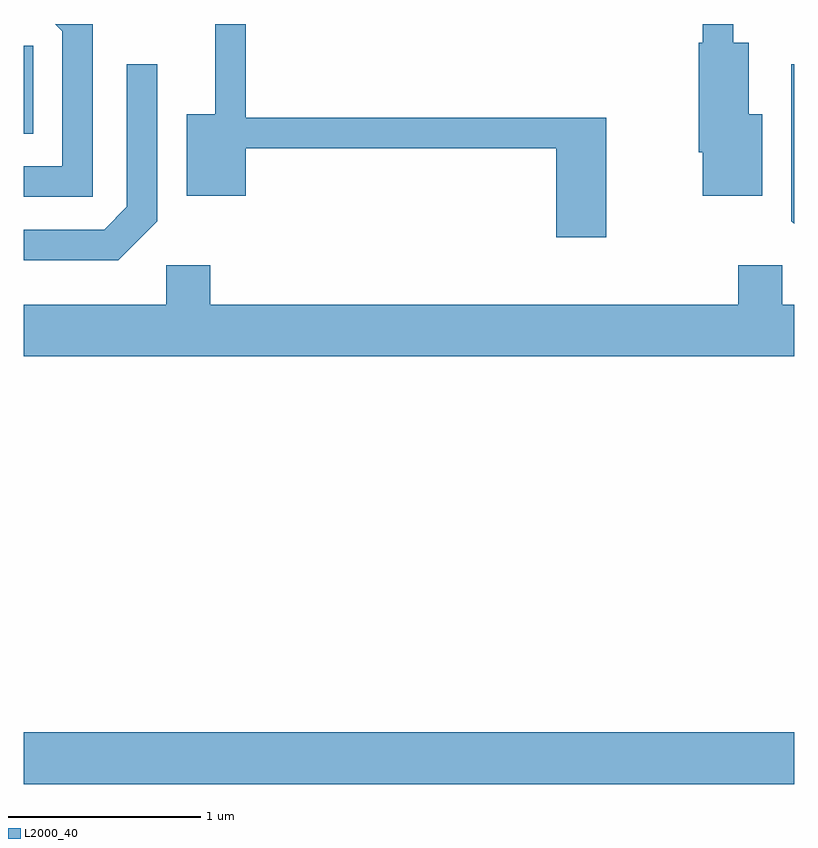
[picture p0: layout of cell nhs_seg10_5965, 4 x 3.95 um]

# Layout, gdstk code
import gdstk
lib = gdstk.Library(unit=1e-6, precision=1e-09)
def R(c, l, rs):  # rectangles x0, y0, x1, y1
    for r in rs: c.add(gdstk.rectangle(r[:2], r[2:], *l))
def P(c, l, *ps):  # polygons
    for p in ps: c.add(gdstk.Polygon(p, *l))
L2000_40 = (2000, 40)

nhs_seg10_5965 = lib.new_cell('nhs_seg10_5965')
R(nhs_seg10_5965, L2000_40, [(361.611,2120.576,365.611,2120.844), (361.611,2123.951,361.659,2124.409)])
P(nhs_seg10_5965, L2000_40, [(364.634,2124.034),(362.764,2124.034),(362.764,2124.522),(362.606,2124.522),(362.606,2124.054),(362.456,2124.054),(362.456,2123.631),(362.764,2123.631),(362.764,2123.876),(364.376,2123.876),(364.376,2123.416),(364.634,2123.416)],
  [(365.444,2124.054),(365.374,2124.054),(365.374,2124.424),(365.294,2124.424),(365.294,2124.522),(365.136,2124.522),(365.136,2124.424),(365.116,2124.424),(365.116,2123.856),(365.136,2123.856),(365.136,2123.631),(365.444,2123.631)],
  [(361.969,2124.522),(361.773,2124.522),(361.811,2124.484),(361.811,2123.784),(361.611,2123.784),(361.611,2123.626),(361.969,2123.626)],
  [(362.304,2123.499),(362.304,2124.313),(362.146,2124.313),(362.146,2123.572),(362.029,2123.454),(361.611,2123.454),(361.611,2123.296),(362.102,2123.296)],
  [(365.611,2124.313),(365.596,2124.313),(365.596,2123.499),(365.611,2123.484)],
  [(365.611,2123.064),(365.549,2123.064),(365.549,2123.269),(365.321,2123.269),(365.321,2123.064),(362.579,2123.064),(362.579,2123.269),(362.351,2123.269),(362.351,2123.064),(361.611,2123.064),(361.611,2122.796),(365.611,2122.796)])

lib.write_gds('nhs_seg10_5965.gds')
